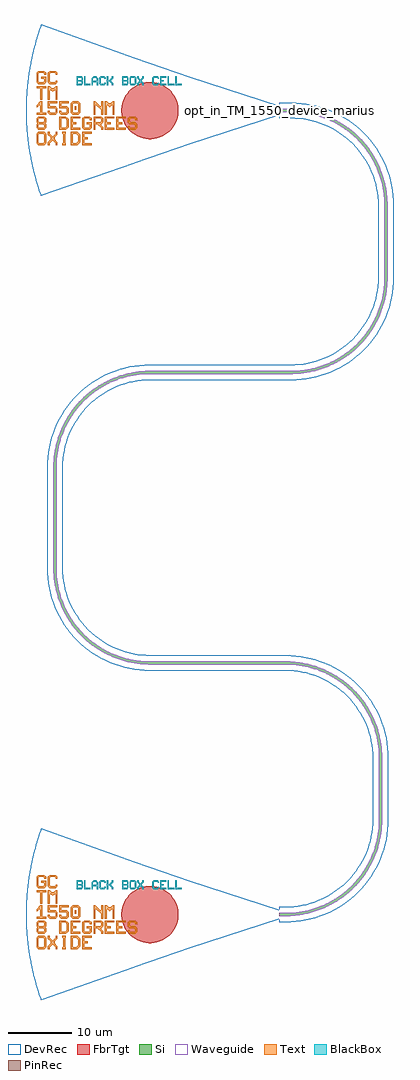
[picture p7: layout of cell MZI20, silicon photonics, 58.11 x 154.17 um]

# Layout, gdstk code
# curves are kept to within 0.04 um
import gdstk
lib = gdstk.Library(unit=1e-6, precision=1e-09)
def R(c, l, rs):  # rectangles x0, y0, x1, y1
    for r in rs: c.add(gdstk.rectangle(r[:2], r[2:], *l))
def P(c, l, *ps):  # polygons
    for p in ps: c.add(gdstk.Polygon(p, *l))
Si = (1, 0)
PinRec = (1, 10)
Waveguide = (1, 99)
Text = (10, 0)
DevRec = (68, 0)
FbrTgt = (81, 0)
BlackBox = (998, 0)

text_1 = lib.new_cell('TEXT$1')
P(text_1, BlackBox, [(0,0),(0,1.4),(0.8,1.4),(1,1.2),(0.2,1.2),(0.2,0.8),(0.7,0.8),(0.8,0.9),(0.8,1.1),(0.7,1.2),(1,1.2),(1,0.8),(0.9,0.7),(1,0.6),(0.2,0.6),(0.2,0.2),(0.7,0.2),(0.8,0.3),(0.8,0.5),(0.7,0.6),(1,0.6),(1,0.2),(0.8,0)],
  [(1.2,0),(1.2,1.4),(1.4,1.4),(1.4,0.2),(2.2,0.2),(2.2,0)],
  [(2.4,0),(2.4,1.1),(2.7,1.4),(3.1,1.4),(3.3,1.2),(2.8,1.2),(2.6,1),(2.6,0.7),(3.2,0.7),(3.2,1),(3,1.2),(3.3,1.2),(3.4,1.1),(3.4,0),(3.2,0),(3.2,0.5),(2.6,0.5),(2.6,0)],
  [(3.8,0),(3.6,0.2),(3.6,1.2),(3.8,1.4),(4.4,1.4),(4.6,1.2),(4.6,1),(4.4,1),(4.4,1.1),(4.3,1.2),(3.9,1.2),(3.8,1.1),(3.8,0.3),(3.9,0.2),(4.3,0.2),(4.4,0.3),(4.4,0.4),(4.6,0.4),(4.6,0.2),(4.4,0)],
  [(4.8,0),(4.8,1.4),(5,1.4),(5,0.8),(5.2,0.8),(5.6,1.2),(5.6,1.4),(5.8,1.4),(5.8,1.1),(5.4,0.7),(5.8,0.3),(5.8,0),(5.6,0),(5.6,0.2),(5.2,0.6),(5,0.6),(5,0)],
  [(7.2,0),(7.2,1.4),(8,1.4),(8.2,1.2),(7.4,1.2),(7.4,0.8),(7.9,0.8),(8,0.9),(8,1.1),(7.9,1.2),(8.2,1.2),(8.2,0.8),(8.1,0.7),(8.2,0.6),(7.4,0.6),(7.4,0.2),(7.9,0.2),(8,0.3),(8,0.5),(7.9,0.6),(8.2,0.6),(8.2,0.2),(8,0)],
  [(8.6,0),(8.4,0.2),(8.4,1.2),(8.6,1.4),(9.2,1.4),(9.4,1.2),(9.4,0.7),(9.2,0.7),(9.2,1.1),(9.1,1.2),(8.7,1.2),(8.6,1.1),(8.6,0.3),(8.7,0.2),(9.1,0.2),(9.2,0.3),(9.2,0.7),(9.4,0.7),(9.4,0.2),(9.2,0)],
  [(9.6,0),(9.6,0.3),(9.9,0.6),(9.9,0.8),(9.6,1.1),(9.6,1.4),(9.8,1.4),(9.8,1.2),(10.1,0.9),(10.4,1.2),(10.4,1.4),(10.6,1.4),(10.6,1.1),(10.3,0.8),(10.3,0.6),(10.6,0.3),(10.6,0),(10.4,0),(10.4,0.2),(10.1,0.5),(9.8,0.2),(9.8,0)],
  [(12.2,0),(12,0.2),(12,1.2),(12.2,1.4),(12.8,1.4),(13,1.2),(13,1),(12.8,1),(12.8,1.1),(12.7,1.2),(12.3,1.2),(12.2,1.1),(12.2,0.3),(12.3,0.2),(12.7,0.2),(12.8,0.3),(12.8,0.4),(13,0.4),(13,0.2),(12.8,0)],
  [(13.2,0),(13.2,1.4),(14.2,1.4),(14.2,1.2),(13.4,1.2),(13.4,0.8),(13.8,0.8),(13.8,0.6),(13.4,0.6),(13.4,0.2),(14.2,0.2),(14.2,0)],
  [(14.4,0),(14.4,1.4),(14.6,1.4),(14.6,0.2),(15.4,0.2),(15.4,0)],
  [(15.6,0),(15.6,1.4),(15.8,1.4),(15.8,0.2),(16.6,0.2),(16.6,0)])

gc_tm_1550_8degoxide_bb = lib.new_cell('GC_TM_1550_8degOxide_BB')
R(gc_tm_1550_8degoxide_bb, Text, [(-32.313,0.092,-32.013,0.692)])
P(gc_tm_1550_8degoxide_bb, Text, [(-37.713,1.742),(-37.713,3.542),(-38.313,3.542),(-38.313,3.842),(-36.813,3.842),(-36.813,3.542),(-37.413,3.542),(-37.413,1.742)],
  [(-38.013,-5.458),(-38.313,-5.158),(-38.313,-3.658),(-38.013,-3.358),(-37.113,-3.358),(-36.813,-3.658),(-36.813,-4.408),(-37.113,-4.408),(-37.113,-3.808),(-37.263,-3.658),(-37.863,-3.658),(-38.013,-3.808),(-38.013,-5.008),(-37.863,-5.158),(-37.263,-5.158),(-37.113,-5.008),(-37.113,-4.408),(-36.813,-4.408),(-36.813,-5.158),(-37.113,-5.458)],
  [(-31.113,-5.458),(-31.113,-3.358),(-29.613,-3.358),(-29.613,-3.658),(-30.813,-3.658),(-30.813,-4.258),(-30.213,-4.258),(-30.213,-4.558),(-30.813,-4.558),(-30.813,-5.158),(-29.613,-5.158),(-29.613,-5.458)],
  [(-32.913,-3.058),(-32.913,-0.958),(-31.413,-0.958),(-31.413,-1.258),(-32.613,-1.258),(-32.613,-1.858),(-32.013,-1.858),(-32.013,-2.158),(-32.613,-2.158),(-32.613,-2.758),(-31.413,-2.758),(-31.413,-3.058)],
  [(-27.513,-3.058),(-27.513,-0.958),(-26.013,-0.958),(-26.013,-1.258),(-27.213,-1.258),(-27.213,-1.858),(-26.613,-1.858),(-26.613,-2.158),(-27.213,-2.158),(-27.213,-2.758),(-26.013,-2.758),(-26.013,-3.058)],
  [(-25.713,-3.058),(-25.713,-0.958),(-24.213,-0.958),(-24.213,-1.258),(-25.413,-1.258),(-25.413,-1.858),(-24.813,-1.858),(-24.813,-2.158),(-25.413,-2.158),(-25.413,-2.758),(-24.213,-2.758),(-24.213,-3.058)],
  [(-29.313,-0.658),(-29.313,1.442),(-29.013,1.442),(-28.263,0.692),(-28.113,0.692),(-28.113,1.442),(-27.813,1.442),(-27.813,-0.658),(-28.113,-0.658),(-28.113,0.092),(-28.863,0.842),(-29.013,0.842),(-29.013,-0.658)],
  [(-34.263,-5.458),(-34.263,-5.158),(-34.113,-5.158),(-34.113,-3.658),(-34.263,-3.658),(-34.263,-3.358),(-33.663,-3.358),(-33.663,-3.658),(-33.813,-3.658),(-33.813,-5.158),(-33.663,-5.158),(-33.663,-5.458)],
  [(-36.213,4.142),(-36.513,4.442),(-36.513,5.942),(-36.213,6.242),(-35.313,6.242),(-35.013,5.942),(-35.013,5.642),(-35.313,5.642),(-35.313,5.792),(-35.463,5.942),(-36.063,5.942),(-36.213,5.792),(-36.213,4.592),(-36.063,4.442),(-35.463,4.442),(-35.313,4.592),(-35.313,4.742),(-35.013,4.742),(-35.013,4.442),(-35.313,4.142)],
  [(-27.513,-0.658),(-27.513,1.442),(-27.213,1.442),(-26.913,1.142),(-26.613,1.142),(-26.313,1.442),(-26.013,1.442),(-26.013,-0.658),(-26.313,-0.658),(-26.313,0.842),(-26.463,0.842),(-26.763,0.542),(-27.063,0.842),(-27.213,0.842),(-27.213,-0.658)],
  [(-36.513,1.742),(-36.513,3.842),(-36.213,3.842),(-35.913,3.542),(-35.613,3.542),(-35.313,3.842),(-35.013,3.842),(-35.013,1.742),(-35.313,1.742),(-35.313,3.242),(-35.463,3.242),(-35.763,2.942),(-36.063,3.242),(-36.213,3.242),(-36.213,1.742)],
  [(-32.613,-0.658),(-32.913,-0.358),(-32.913,1.142),(-32.613,1.442),(-31.713,1.442),(-31.413,1.142),(-32.463,1.142),(-32.613,0.992),(-32.613,-0.208),(-32.463,-0.358),(-31.863,-0.358),(-31.713,-0.208),(-31.713,0.992),(-31.863,1.142),(-31.413,1.142),(-31.413,-0.358),(-31.713,-0.658)],
  [(-32.913,-5.458),(-32.913,-3.358),(-31.863,-3.358),(-31.563,-3.658),(-32.613,-3.658),(-32.613,-5.158),(-32.013,-5.158),(-31.713,-4.858),(-31.713,-3.958),(-32.013,-3.658),(-31.563,-3.658),(-31.413,-3.808),(-31.413,-5.008),(-31.863,-5.458)],
  [(-34.713,-3.058),(-34.713,-0.958),(-33.663,-0.958),(-33.363,-1.258),(-34.413,-1.258),(-34.413,-2.758),(-33.813,-2.758),(-33.513,-2.458),(-33.513,-1.558),(-33.813,-1.258),(-33.363,-1.258),(-33.213,-1.408),(-33.213,-2.608),(-33.663,-3.058)],
  [(-23.613,-3.058),(-23.913,-2.758),(-23.913,-2.458),(-23.613,-2.458),(-23.613,-2.608),(-23.463,-2.758),(-22.863,-2.758),(-22.713,-2.608),(-22.713,-2.308),(-22.863,-2.158),(-23.613,-2.158),(-23.913,-1.858),(-23.913,-1.258),(-23.613,-0.958),(-22.713,-0.958),(-22.413,-1.258),(-22.413,-1.558),(-22.713,-1.558),(-22.713,-1.408),(-22.863,-1.258),(-23.463,-1.258),(-23.613,-1.408),(-23.613,-1.708),(-23.463,-1.858),(-22.713,-1.858),(-22.413,-2.158),(-22.413,-2.758),(-22.713,-3.058)],
  [(-36.213,-0.658),(-36.513,-0.358),(-36.513,-0.058),(-36.213,-0.058),(-36.213,-0.208),(-36.063,-0.358),(-35.463,-0.358),(-35.313,-0.208),(-35.313,0.242),(-35.463,0.392),(-36.513,0.392),(-36.513,1.442),(-35.013,1.442),(-35.013,1.142),(-36.213,1.142),(-36.213,0.692),(-35.313,0.692),(-35.013,0.392),(-35.013,-0.358),(-35.313,-0.658)],
  [(-34.413,-0.658),(-34.713,-0.358),(-34.713,-0.058),(-34.413,-0.058),(-34.413,-0.208),(-34.263,-0.358),(-33.663,-0.358),(-33.513,-0.208),(-33.513,0.242),(-33.663,0.392),(-34.713,0.392),(-34.713,1.442),(-33.213,1.442),(-33.213,1.142),(-34.413,1.142),(-34.413,0.692),(-33.513,0.692),(-33.213,0.392),(-33.213,-0.358),(-33.513,-0.658)],
  [(-38.013,-3.058),(-38.313,-2.758),(-38.313,-2.158),(-38.163,-2.008),(-38.313,-1.858),(-38.313,-1.258),(-38.013,-0.958),(-37.113,-0.958),(-36.813,-1.258),(-37.863,-1.258),(-38.013,-1.408),(-38.013,-1.708),(-37.863,-1.858),(-37.263,-1.858),(-37.113,-1.708),(-37.113,-1.408),(-37.263,-1.258),(-36.813,-1.258),(-36.813,-1.858),(-36.963,-2.008),(-36.813,-2.158),(-37.863,-2.158),(-38.013,-2.308),(-38.013,-2.608),(-37.863,-2.758),(-37.263,-2.758),(-37.113,-2.608),(-37.113,-2.308),(-37.263,-2.158),(-36.813,-2.158),(-36.813,-2.758),(-37.113,-3.058)],
  [(-38.313,-0.658),(-38.313,-0.358),(-37.713,-0.358),(-37.713,0.842),(-37.863,0.842),(-38.163,0.542),(-38.313,0.542),(-38.313,0.842),(-37.713,1.442),(-37.413,1.442),(-37.413,-0.358),(-36.813,-0.358),(-36.813,-0.658)],
  [(-36.513,-5.458),(-36.513,-5.008),(-36.063,-4.558),(-36.063,-4.258),(-36.513,-3.808),(-36.513,-3.358),(-36.213,-3.358),(-36.213,-3.658),(-35.763,-4.108),(-35.313,-3.658),(-35.313,-3.358),(-35.013,-3.358),(-35.013,-3.808),(-35.463,-4.258),(-35.463,-4.558),(-35.013,-5.008),(-35.013,-5.458),(-35.313,-5.458),(-35.313,-5.158),(-35.763,-4.708),(-36.213,-5.158),(-36.213,-5.458)],
  [(-30.813,-3.058),(-31.113,-2.758),(-31.113,-1.258),(-30.813,-0.958),(-29.913,-0.958),(-29.613,-1.258),(-29.613,-1.558),(-29.913,-1.558),(-29.913,-1.408),(-30.063,-1.258),(-30.663,-1.258),(-30.813,-1.408),(-30.813,-2.608),(-30.663,-2.758),(-30.063,-2.758),(-29.913,-2.608),(-29.913,-2.158),(-30.363,-2.158),(-30.363,-1.858),(-29.613,-1.858),(-29.613,-2.758),(-29.913,-3.058)],
  [(-38.013,4.142),(-38.313,4.442),(-38.313,5.942),(-38.013,6.242),(-37.113,6.242),(-36.813,5.942),(-36.813,5.642),(-37.113,5.642),(-37.113,5.792),(-37.263,5.942),(-37.863,5.942),(-38.013,5.792),(-38.013,4.592),(-37.863,4.442),(-37.263,4.442),(-37.113,4.592),(-37.113,5.042),(-37.563,5.042),(-37.563,5.342),(-36.813,5.342),(-36.813,4.442),(-37.113,4.142)],
  [(-29.313,-3.058),(-29.313,-0.958),(-28.113,-0.958),(-27.813,-1.258),(-29.013,-1.258),(-29.013,-1.858),(-28.263,-1.858),(-28.113,-1.708),(-28.113,-1.408),(-28.263,-1.258),(-27.813,-1.258),(-27.813,-1.858),(-28.113,-2.158),(-28.113,-2.308),(-27.813,-2.608),(-27.813,-3.058),(-28.113,-3.058),(-28.113,-2.758),(-28.713,-2.158),(-29.013,-2.158),(-29.013,-3.058)])
P(gc_tm_1550_8degoxide_bb, DevRec, [(-37.607,-13.5),(-38.627,-10.245),(-39.378,-6.832),(-39.647,-5.058),(-39.835,-3.274),(-39.969,0.224),(-39.812,3.541),(-39.331,7.097),(-38.557,10.505),(-37.546,13.669),(-22.8,8.353),(-14.109,5.36),(0,0.75),(0,-0.75),(-14.109,-5.36)])
P(gc_tm_1550_8degoxide_bb, FbrTgt, [(-20.621,-4.5),(-21.495,-4.37),(-22.326,-4.073),(-23.084,-3.619),(-23.738,-3.026),(-24.264,-2.316),(-24.642,-1.518),(-24.857,-0.661),(-24.9,0.221),(-24.77,1.095),(-24.473,1.926),(-24.019,2.684),(-23.426,3.338),(-22.716,3.864),(-21.918,4.242),(-21.061,4.457),(-20.179,4.5),(-19.305,4.37),(-18.474,4.073),(-17.716,3.619),(-17.062,3.026),(-16.536,2.316),(-16.158,1.518),(-15.943,0.661),(-15.9,-0.221),(-16.03,-1.095),(-16.327,-1.926),(-16.781,-2.684),(-17.374,-3.338),(-18.084,-3.864),(-18.882,-4.242),(-19.739,-4.457)])
gc_tm_1550_8degoxide_bb.add(gdstk.FlexPath([(-0.01,0),(0.01,0)], 0.5, ends="flush", simple_path=True, layer=1, datatype=10))  # PinRec
gc_tm_1550_8degoxide_bb.add(gdstk.Reference(text_1, (-32,4)))
gc_tm_1550_8degoxide_bb.add(gdstk.Label('opt1', (0,0), layer=1, texttype=10))
gc_tm_1550_8degoxide_bb.add(gdstk.Label('Component=GC_TM_1550_8degOxide_BB', (-28,-5), layer=68, texttype=0))

waveguide_28 = lib.new_cell('Waveguide$28')
P(waveguide_28, Si, [(0,253.75),(0,254.25),(1.754,254.268),(2.955,254.376),(4.144,254.582),(5.543,254.957),(7.336,255.666),(9.023,256.603),(10.755,257.91),(12.12,259.275),(13.427,261.007),(14.465,262.912),(14.918,264.031),(15.278,265.183),(15.542,266.36),(15.731,267.794),(15.78,269),(15.778,278.981),(15.654,280.665),(15.337,282.324),(14.835,283.936),(14.151,285.48),(13.427,286.733),(12.432,288.097),(11.46,289.17),(10.2,290.293),(9.023,291.137),(7.77,291.861),(6.226,292.545),(4.847,292.988),(3.194,293.331),(1.271,293.488),(-20.408,293.49),(-22.151,293.59),(-24.114,293.947),(-25.311,294.299),(-26.244,294.651),(-27.376,295.175),(-28.248,295.659),(-29.888,296.795),(-31.014,297.781),(-31.874,298.685),(-32.804,299.857),(-33.489,300.9),(-34.194,302.22),(-34.681,303.368),(-35.071,304.552),(-35.365,305.765),(-35.585,307.246),(-35.656,308.491),(-35.656,324.879),(-35.585,326.124),(-35.455,327.114),(-35.201,328.336),(-34.927,329.295),(-34.194,331.15),(-33.615,332.255),(-33.088,333.103),(-31.874,334.685),(-31.192,335.414),(-30.274,336.259),(-29.291,337.026),(-28.461,337.58),(-27.376,338.195),(-26.473,338.621),(-25.311,339.071),(-23.871,339.481),(-22.399,339.75),(-21.156,339.862),(2.131,339.882),(3.575,339.976),(4.767,340.163),(6.172,340.515),(7.534,341.003),(8.843,341.621),(10.085,342.366),(11.247,343.228),(12.32,344.2),(13.292,345.273),(14.154,346.435),(15.119,348.106),(15.857,349.889),(16.357,351.753),(16.609,353.665),(16.622,366.724),(16.357,368.877),(15.857,370.741),(15.011,372.74),(13.88,374.591),(12.489,376.258),(10.869,377.702),(9.883,378.397),(8.63,379.121),(7.311,379.718),(5.94,380.183),(4.767,380.467),(3.336,380.679),(2.131,380.748),(0,380.75),(0,381.25),(2.139,381.248),(3.384,381.177),(4.374,381.047),(5.596,380.793),(6.793,380.441),(7.726,380.089),(8.858,379.565),(9.73,379.081),(10.773,378.396),(11.756,377.629),(12.674,376.784),(13.519,375.866),(14.139,375.084),(14.84,374.053),(15.455,372.968),(15.979,371.836),(16.331,370.903),(16.683,369.706),(16.894,368.73),(17.122,366.748),(17.107,353.633),(16.847,351.655),(16.331,349.727),(15.567,347.886),(14.57,346.157),(13.678,344.955),(12.674,343.846),(11.565,342.842),(10.363,341.95),(9.079,341.181),(7.726,340.541),(6.316,340.037),(4.865,339.673),(3.384,339.453),(2.139,339.382),(-21.132,339.362),(-22.572,339.221),(-23.757,338.995),(-24.921,338.673),(-26.275,338.163),(-27.148,337.751),(-28.197,337.156),(-29.765,336.032),(-31.337,334.535),(-32.672,332.825),(-33.637,331.154),(-34.451,329.143),(-34.961,327.032),(-35.156,324.871),(-35.156,308.499),(-35.062,307.055),(-34.875,305.863),(-34.523,304.458),(-34.126,303.319),(-33.529,302),(-32.934,300.951),(-32.255,299.954),(-31.498,299.015),(-30.666,298.141),(-29.578,297.187),(-27.992,296.089),(-27.148,295.619),(-26.052,295.113),(-24.225,294.492),(-22.093,294.086),(-20.408,293.99),(1.279,293.988),(3.021,293.86),(4.977,293.47),(6.402,293.013),(7.998,292.305),(9.503,291.42),(10.705,290.528),(11.814,289.524),(12.975,288.22),(13.98,286.793),(14.707,285.484),(15.303,284.112),(15.823,282.446),(16.15,280.731),(16.278,278.989),(16.28,269),(16.229,267.754),(16.077,266.516),(15.823,265.294),(15.471,264.097),(14.921,262.706),(14.479,261.811),(13.847,260.737),(13.279,259.916),(12.496,258.945),(11.814,258.216),(10.896,257.371),(9.913,256.604),(8.87,255.919),(7.998,255.435),(6.866,254.911),(5.933,254.559),(4.736,254.207),(3.514,253.953),(2.524,253.823)])
P(waveguide_28, Waveguide, [(0,253.75),(0,254.25),(1.754,254.268),(2.955,254.376),(4.144,254.582),(5.543,254.957),(7.336,255.666),(9.023,256.603),(10.755,257.91),(12.12,259.275),(13.427,261.007),(14.465,262.912),(14.918,264.031),(15.278,265.183),(15.542,266.36),(15.731,267.794),(15.78,269),(15.778,278.981),(15.654,280.665),(15.337,282.324),(14.835,283.936),(14.151,285.48),(13.427,286.733),(12.432,288.097),(11.46,289.17),(10.2,290.293),(9.023,291.137),(7.77,291.861),(6.226,292.545),(4.847,292.988),(3.194,293.331),(1.271,293.488),(-20.408,293.49),(-22.151,293.59),(-24.114,293.947),(-25.311,294.299),(-26.244,294.651),(-27.376,295.175),(-28.248,295.659),(-29.888,296.795),(-31.014,297.781),(-31.874,298.685),(-32.804,299.857),(-33.489,300.9),(-34.194,302.22),(-34.681,303.368),(-35.071,304.552),(-35.365,305.765),(-35.585,307.246),(-35.656,308.491),(-35.656,324.879),(-35.585,326.124),(-35.455,327.114),(-35.201,328.336),(-34.927,329.295),(-34.194,331.15),(-33.615,332.255),(-33.088,333.103),(-31.874,334.685),(-31.192,335.414),(-30.274,336.259),(-29.291,337.026),(-28.461,337.58),(-27.376,338.195),(-26.473,338.621),(-25.311,339.071),(-23.871,339.481),(-22.399,339.75),(-21.156,339.862),(2.131,339.882),(3.575,339.976),(4.767,340.163),(6.172,340.515),(7.534,341.003),(8.843,341.621),(10.085,342.366),(11.247,343.228),(12.32,344.2),(13.292,345.273),(14.154,346.435),(15.119,348.106),(15.857,349.889),(16.357,351.753),(16.609,353.665),(16.622,366.724),(16.357,368.877),(15.857,370.741),(15.011,372.74),(13.88,374.591),(12.489,376.258),(10.869,377.702),(9.883,378.397),(8.63,379.121),(7.311,379.718),(5.94,380.183),(4.767,380.467),(3.336,380.679),(2.131,380.748),(0,380.75),(0,381.25),(2.139,381.248),(3.384,381.177),(4.374,381.047),(5.596,380.793),(6.793,380.441),(7.726,380.089),(8.858,379.565),(9.73,379.081),(10.773,378.396),(11.756,377.629),(12.674,376.784),(13.519,375.866),(14.139,375.084),(14.84,374.053),(15.455,372.968),(15.979,371.836),(16.331,370.903),(16.683,369.706),(16.894,368.73),(17.122,366.748),(17.107,353.633),(16.847,351.655),(16.331,349.727),(15.567,347.886),(14.57,346.157),(13.678,344.955),(12.674,343.846),(11.565,342.842),(10.363,341.95),(9.079,341.181),(7.726,340.541),(6.316,340.037),(4.865,339.673),(3.384,339.453),(2.139,339.382),(-21.132,339.362),(-22.572,339.221),(-23.757,338.995),(-24.921,338.673),(-26.275,338.163),(-27.148,337.751),(-28.197,337.156),(-29.765,336.032),(-31.337,334.535),(-32.672,332.825),(-33.637,331.154),(-34.451,329.143),(-34.961,327.032),(-35.156,324.871),(-35.156,308.499),(-35.062,307.055),(-34.875,305.863),(-34.523,304.458),(-34.126,303.319),(-33.529,302),(-32.934,300.951),(-32.255,299.954),(-31.498,299.015),(-30.666,298.141),(-29.578,297.187),(-27.992,296.089),(-27.148,295.619),(-26.052,295.113),(-24.225,294.492),(-22.093,294.086),(-20.408,293.99),(1.279,293.988),(3.021,293.86),(4.977,293.47),(6.402,293.013),(7.998,292.305),(9.503,291.42),(10.705,290.528),(11.814,289.524),(12.975,288.22),(13.98,286.793),(14.707,285.484),(15.303,284.112),(15.823,282.446),(16.15,280.731),(16.278,278.989),(16.28,269),(16.229,267.754),(16.077,266.516),(15.823,265.294),(15.471,264.097),(14.921,262.706),(14.479,261.811),(13.847,260.737),(13.279,259.916),(12.496,258.945),(11.814,258.216),(10.896,257.371),(9.913,256.604),(8.87,255.919),(7.998,255.435),(6.866,254.911),(5.933,254.559),(4.736,254.207),(3.514,253.953),(2.524,253.823)])
P(waveguide_28, DevRec, [(0,252.75),(0,255.25),(2.378,255.316),(4.371,255.662),(6.292,256.297),(8.099,257.206),(9.753,258.371),(10.753,259.277),(11.659,260.277),(12.824,261.931),(13.733,263.738),(14.188,265.009),(14.516,266.318),(14.763,268.325),(14.763,279.415),(14.632,280.758),(14.368,282.081),(13.733,284.002),(13.156,285.222),(12.463,286.379),(11.659,287.463),(10.753,288.463),(9.753,289.369),(8.099,290.534),(6.909,291.17),(5.662,291.686),(4.371,292.078),(3.048,292.342),(1.029,292.49),(-20.409,292.49),(-22,292.568),(-24.357,292.978),(-26.626,293.727),(-28.763,294.802),(-30.717,296.179),(-31.899,297.249),(-32.449,297.828),(-33.46,299.06),(-34.346,300.385),(-35.098,301.793),(-35.708,303.266),(-36.346,305.57),(-36.58,307.148),(-36.658,308.739),(-36.658,324.631),(-36.482,327.014),(-35.958,329.347),(-35.098,331.577),(-34.346,332.985),(-32.969,334.939),(-31.899,336.121),(-31.32,336.671),(-29.437,338.141),(-27.355,339.32),(-25.882,339.93),(-24.357,340.392),(-22.792,340.704),(-21.205,340.861),(1.889,340.88),(3.238,340.946),(4.572,341.144),(5.881,341.472),(7.152,341.927),(8.372,342.504),(9.529,343.197),(10.613,344.001),(11.613,344.907),(12.519,345.907),(13.323,346.991),(14.32,348.751),(14.836,349.998),(15.228,351.289),(15.574,353.282),(15.64,354.632),(15.623,366.675),(15.492,368.018),(15.048,369.991),(14.32,371.879),(13.684,373.069),(12.934,374.19),(11.613,375.723),(10.613,376.629),(9.529,377.433),(7.769,378.43),(6.522,378.946),(5.231,379.338),(3.238,379.684),(0,379.75),(0,382.25),(1.899,382.25),(4.274,382.074),(6.607,381.55),(8.837,380.69),(10.919,379.511),(12.802,378.041),(13.381,377.491),(14.451,376.309),(15.828,374.355),(16.903,372.218),(17.44,370.717),(17.828,369.17),(18.121,366.797),(18.121,353.833),(17.828,351.46),(17.44,349.913),(16.58,347.683),(15.828,346.275),(14.942,344.95),(13.381,343.139),(12.199,342.069),(10.919,341.119),(9.55,340.298),(8.108,339.617),(6.607,339.08),(5.06,338.692),(3.482,338.458),(1.891,338.38),(-21.083,338.363),(-23.09,338.116),(-24.399,337.788),(-25.67,337.333),(-27.477,336.424),(-29.131,335.259),(-30.595,333.864),(-31.841,332.269),(-32.838,330.509),(-33.566,328.621),(-34.01,326.648),(-34.158,324.629),(-34.158,308.741),(-34.092,307.392),(-33.894,306.058),(-33.354,304.108),(-32.838,302.861),(-32.202,301.671),(-31.037,300.017),(-30.131,299.017),(-29.131,298.111),(-27.477,296.946),(-25.67,296.037),(-23.749,295.402),(-21.756,295.056),(-20.407,294.99),(1.827,294.971),(4.2,294.678),(5.747,294.29),(7.248,293.753),(8.69,293.072),(10.059,292.251),(11.942,290.781),(13.071,289.652),(14.082,288.42),(14.968,287.095),(15.72,285.687),(16.33,284.214),(16.968,281.91),(17.202,280.332),(17.28,278.742),(17.28,268.998),(17.202,267.408),(16.968,265.83),(16.58,264.283),(15.72,262.053),(14.541,259.971),(13.071,258.088),(12.521,257.509),(11.339,256.439),(9.385,255.062),(7.248,253.987),(4.979,253.238),(2.622,252.828)])
waveguide_28.add(gdstk.FlexPath([(0.01,381),(-0.01,381)], 0.5, ends="flush", simple_path=True, layer=1, datatype=10))  # PinRec
waveguide_28.add(gdstk.FlexPath([(0.01,254),(-0.01,254)], 0.5, ends="flush", simple_path=True, layer=1, datatype=10))  # PinRec
waveguide_28.add(gdstk.Label('opt1', (0,381), layer=1, texttype=10))
waveguide_28.add(gdstk.Label('opt2', (0,254), layer=1, texttype=10))
waveguide_28.add(gdstk.Label('Lumerical_INTERCONNECT_library=Design kits/EBeam', (0,380.9), layer=68, texttype=0))
waveguide_28.add(gdstk.Label('Component=ebeam_wg_integral_1550', (0,381.1), layer=68, texttype=0))
waveguide_28.add(gdstk.Label('cellName=Waveguide', (0,381.2), layer=68, texttype=0))
waveguide_28.add(gdstk.Label('Spice_param:wg_length=0.000225000 wg_width=5e-07 points="[[0.0,381.0],[16.89,381.0],[16.89,339.63],[-35.408,339.63],[-35.408,293.74],[16.03,293.74],[16.03,254.0],[0.0,254.0]]" radius=1.5e-05', (0,381), layer=68, texttype=0))
waveguide_28.add(gdstk.Label('Length=225.000 (microns)', (0,380.4), layer=68, texttype=0))
waveguide_28.add(gdstk.Label('waveguide_type=Strip TM 1550 nm, w=500 nm', (0,380.8), layer=68, texttype=0))

mzi20 = lib.new_cell('MZI20')
r = gdstk.Reference(gc_tm_1550_8degoxide_bb, (39.969,13.5)); r.repetition = gdstk.Repetition(1, 2, v1=(0,0), v2=(0,127)); mzi20.add(r)
mzi20.add(gdstk.Reference(waveguide_28, (39.969,-240.5)))
mzi20.add(gdstk.Label('opt_in_TM_1550_device_mariusminnen_MZI20', (39.969,140.5), layer=10, texttype=0))

lib.write_gds('MZI20.gds')
